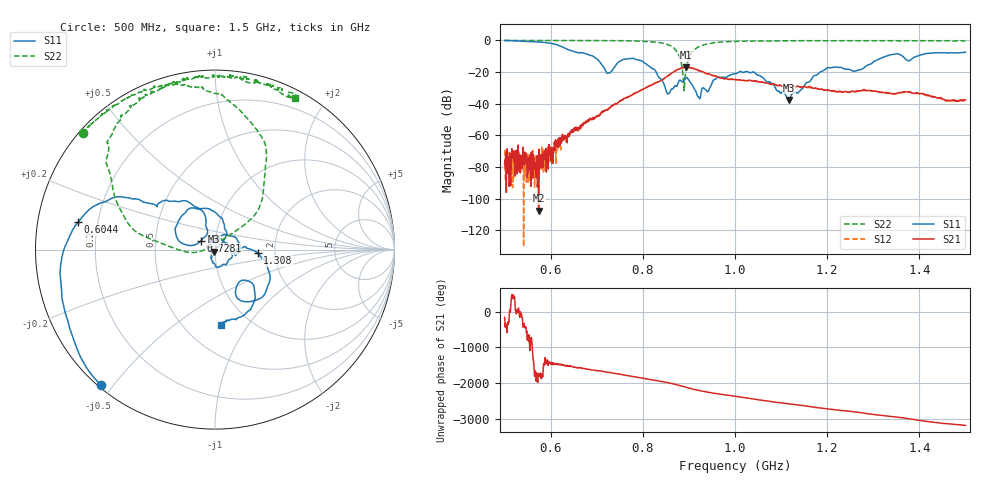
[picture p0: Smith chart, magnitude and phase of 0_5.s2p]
!Agilent Technologies,E8364B,US42250235,A.06.04.32
!Agilent E8364B: A.06.04.32
!Date: Friday, January 15, 2021 14:46:39
!Correction: S11(Full 2 Port(1,2)) S21(Full 2 Port(1,2)) S12(Full 2 Port(1,2)) S22(Full 2 Port(1,2))
!S2P File: Measurements: S11, S21, S12, S22:
# Hz S  dB  R 50
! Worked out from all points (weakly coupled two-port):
!   1601 points, 500 MHz to 1.5 GHz, reference 50 ohm
!   highest |S21| = -17.21 dB at 894.4 MHz (marker M1); lowest = -107.7 dB at 573.8 MHz (marker M2)
!   lowest |S11| = -37.7 dB at 1.117 GHz (marker M3), VSWR 1.03, Z = 49.5 - j1.17 ohm
!   |S11| at or under -10 dB: 691.6 MHz to 1.329 GHz (637.5 MHz wide, 63.1 % of centre); 1.363 GHz to 1.395 GHz (32.06 MHz wide, 2.32 % of centre)
!   |S22| runs from -31.8 to -0.1 dB; largest |S21 - S12| = 0.0062
!   S11 on the Smith chart (normalised r, x): 500 MHz: 0.01, -0.47; 604.4 MHz: 0.13, +0.10; 728.1 MHz: 0.85, +0.08; 1.308 GHz: 1.62, -0.06; 1.5 GHz: 0.74, -0.76
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5e8  -0.12 -130.1  -78.04 -160.7  -69.43 171.2  -0.15 138.5
5.7375e8  -1.12 -167.6  -107.69 76.0  -76.47 26.9  -0.17 131.1
6.04375e8  -2.19 168.6  -77.75 -28.7  -68.60 -8.6  -0.19 128.3
6.66875e8  -7.81 141.6  -53.17 -143.9  -54.49 -132.2  -0.20 121.6
7.28125e8  -20.74 148.5  -42.62 105.6  -42.57 105.9  -0.22 113.8
7.775e8  -11.44 126.3  -34.42 -5.1  -34.39 -3.8  -0.48 104.0
8.3375e8  -23.18 47.3  -26.32 -132.8  -26.23 -131.4  -1.36 86.8
8.55e8  -33.95 80.6  -22.34 178.9  -22.33 -179.9  -2.88 72.2
8.76875e8  -26.86 113.8  -18.32 110.9  -18.33 113.3  -8.74 45.5
8.8875e8  -25.77 102.4  -17.25 68.6  -17.22 70.8  -29.81 83.0
8.94375e8  -23.60 82.6  -17.21 49.1  -17.16 51.6  -17.26 -173.2
9.0375e8  -26.93 61.7  -17.44 17.1  -17.39 18.4  -8.60 170.4
9.2125e8  -35.98 47.1  -19.16 -37.6  -19.13 -35.0  -4.10 152.7
9.59375e8  -24.17 65.1  -22.87 -124.7  -22.82 -121.9  -1.40 135.0
1e9  -21.06 -2.7  -24.94 161.9  -24.84 164.2  -0.70 120.6
1.041875e9  -20.23 -85.1  -25.63 84.0  -25.93 84.7  -0.50 114.2
1.1175e9  -37.72 -114.1  -29.53 -47.8  -29.28 -46.3  -0.35 104.1
1.166875e9  -24.14 99.9  -30.12 -137.4  -30.07 -132.6  -0.34 97.4
1.20125e9  -17.41 29.1  -31.24 170.7  -31.75 171.4  -0.31 95.4
1.308125e9  -12.47 -4.3  -32.35 3.7  -32.34 3.9  -0.32 83.3
1.33375e9  -9.48 -24.6  -33.27 -36.0  -33.63 -36.0  -0.30 79.5
1.5e9  -7.47 -85.5  -37.66 69.8  -38.07 67.4  -0.38 62.3
